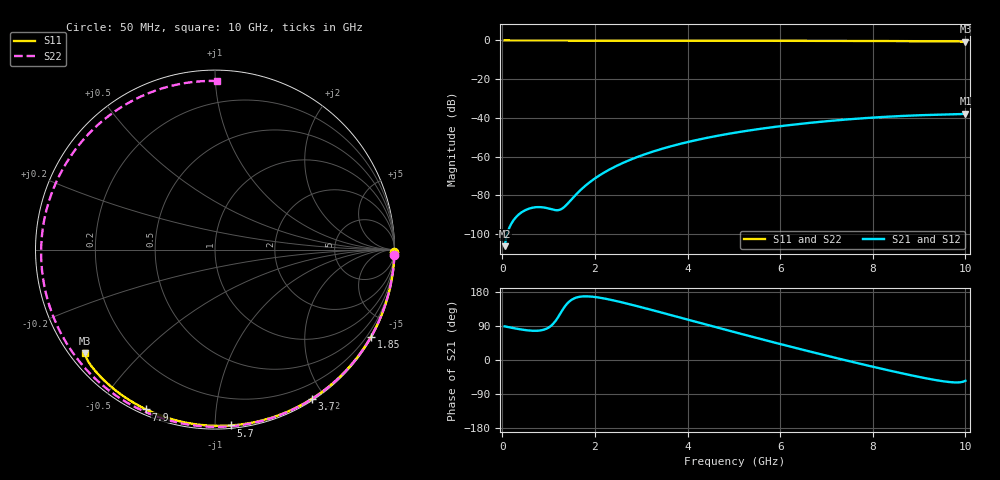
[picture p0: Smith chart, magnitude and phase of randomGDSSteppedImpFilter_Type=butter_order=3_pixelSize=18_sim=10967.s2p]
! freq	dB(S11)	phase(S11)	dB(S12)	phase(S12)
!  dB(S21)	phase(S21)	dB(S22)	phase(S22)
!S-par simulation data
#  GHz  S  DB  R 50
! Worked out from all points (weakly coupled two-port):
!   200 points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, 50 MHz to 10 GHz, reference 50 ohm
!   highest |S21| = -37.86 dB at 10 GHz (marker M1); lowest = -106.3 dB at 50 MHz (marker M2)
!   lowest |S11| = -0.7 dB at 10 GHz (marker M3), VSWR 26.23, Z = 2.14 - j17.4 ohm
!   |S11| at or under -10 dB: nowhere
!   |S22| runs from -0.5 to 0.0 dB; largest |S21 - S12| = 0
!   S11 on the Smith chart (normalised r, x): 50 MHz: open; 1.85 GHz: 0.03, -3.84; 3.7 GHz: 0.02, -1.84; 5.7 GHz: 0.02, -1.09; 7.9 GHz: 0.02, -0.66; 10 GHz: 0.04, -0.35
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0.05  -0.00 -0.8  -106.26 88.8  -106.26 88.8  -0.00 -1.8
0.4  -0.01 -6.4  -89.04 80.7  -89.04 80.7  -0.02 -14.2
0.75  -0.02 -12.0  -86.08 77.2  -86.08 77.2  -0.03 -26.5
1.15  -0.02 -18.3  -87.66 103.1  -87.66 103.1  -0.05 -40.3
1.55  -0.03 -24.6  -80.65 162.5  -80.65 162.5  -0.07 -53.6
1.6  -0.03 -25.3  -79.39 164.8  -79.39 164.8  -0.07 -55.3
1.75  -0.04 -27.7  -75.95 167.9  -75.95 167.9  -0.07 -60.1
1.85  -0.04 -29.2  -73.94 167.9  -73.94 167.9  -0.08 -63.3
2.15  -0.04 -33.8  -68.93 163.5  -68.93 163.5  -0.09 -72.7
2.5  -0.05 -39.2  -64.42 154.5  -64.42 154.5  -0.10 -83.3
2.95  -0.06 -46.0  -59.89 140.9  -59.89 140.9  -0.12 -96.4
3.4  -0.07 -52.6  -56.31 126.4  -56.31 126.4  -0.13 -108.9
3.7  -0.08 -57.0  -54.29 116.6  -54.29 116.6  -0.14 -116.9
4.4  -0.10 -67.0  -50.39 93.6  -50.39 93.6  -0.17 -134.7
5.05  -0.12 -76.1  -47.55 72.4  -47.55 72.4  -0.20 -150.5
5.7  -0.14 -84.9  -45.23 51.6  -45.23 51.6  -0.24 -165.8
6.7  -0.19 -98.0  -42.42 20.6  -42.42 20.6  -0.30 171.1
7.3  -0.23 -105.7  -41.09 2.6  -41.09 2.6  -0.34 157.1
7.9  -0.27 -113.3  -40.00 -14.9  -40.00 -14.9  -0.39 142.8
8.35  -0.31 -118.9  -39.35 -27.6  -39.35 -27.6  -0.42 131.8
9.2  -0.39 -129.6  -38.49 -49.5  -38.49 -49.5  -0.48 110.3
10  -0.66 -141.6  -37.86 -54.8  -37.86 -54.8  -0.54 89.2
